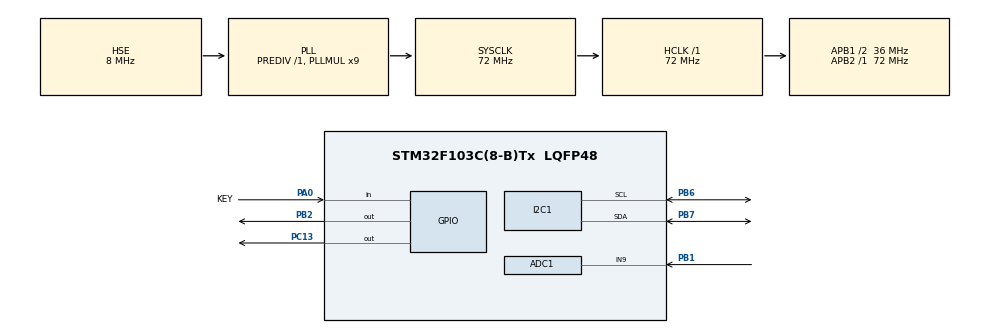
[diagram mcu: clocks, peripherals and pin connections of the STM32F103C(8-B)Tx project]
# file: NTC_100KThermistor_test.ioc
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ADC1.Channel-0\#ChannelRegularConversion=ADC_CHANNEL_9
ADC1.ContinuousConvMode=DISABLE
ADC1.NbrOfConversion=1
ADC1.NbrOfConversionFlag=1
ADC1.Rank-0\#ChannelRegularConversion=1
ADC1.SamplingTime-0\#ChannelRegularConversion=ADC_SAMPLETIME_28CYCLES_5
ADC1.master=1
Dma.ADC1.0.Direction=DMA_PERIPH_TO_MEMORY
Dma.ADC1.0.Instance=DMA1_Channel1
Dma.ADC1.0.MemDataAlignment=DMA_MDATAALIGN_WORD
Dma.ADC1.0.MemInc=DMA_MINC_ENABLE
Dma.ADC1.0.Mode=DMA_CIRCULAR
Dma.ADC1.0.PeriphDataAlignment=DMA_PDATAALIGN_WORD
Dma.ADC1.0.PeriphInc=DMA_PINC_DISABLE
Dma.ADC1.0.Priority=DMA_PRIORITY_LOW
Dma.Request0=ADC1
I2C1.I2C_Mode=I2C_Fast
Mcu.Family=STM32F1
Mcu.Name=STM32F103C(8-B)Tx
Mcu.Package=LQFP48
NVIC.DMA1_Channel1_IRQn=true\:0\:0\:false\:false\:true\:false\:true\:true
NVIC.PriorityGroup=NVIC_PRIORITYGROUP_4
PA0-WKUP.GPIO_Label=KEY
PA0-WKUP.GPIO_PuPd=GPIO_PULLDOWN
PA0-WKUP.Signal=GPIO_Input
PA13.Mode=Serial_Wire
PA13.Signal=SYS_JTMS-SWDIO
PA14.Mode=Serial_Wire
PA14.Signal=SYS_JTCK-SWCLK
PB1.Signal=ADCx_IN9
PB2.Signal=GPIO_Output
PB6.Mode=I2C
PB6.Signal=I2C1_SCL
PB7.Mode=I2C
PB7.Signal=I2C1_SDA
PC13-TAMPER-RTC.Signal=GPIO_Output
PD0-OSC_IN.Mode=HSE-External-Oscillator
PD0-OSC_IN.Signal=RCC_OSC_IN
PD1-OSC_OUT.Mode=HSE-External-Oscillator
PD1-OSC_OUT.Signal=RCC_OSC_OUT
ProjectManager.HeapSize=0x200
ProjectManager.StackSize=0x400
ProjectManager.TargetToolchain=STM32CubeIDE
RCC.ADCPresc=RCC_ADCPCLK2_DIV6
RCC.AHBFreq_Value=72000000
RCC.APB1CLKDivider=RCC_HCLK_DIV2
RCC.APB1Freq_Value=36000000
RCC.APB1TimFreq_Value=72000000
RCC.APB2Freq_Value=72000000
RCC.APB2TimFreq_Value=72000000
RCC.HCLKFreq_Value=72000000
RCC.PLLMUL=RCC_PLL_MUL9
RCC.PLLSourceVirtual=RCC_PLLSOURCE_HSE
RCC.SYSCLKFreq_VALUE=72000000
RCC.SYSCLKSource=RCC_SYSCLKSOURCE_PLLCLK
RCC.USBFreq_Value=72000000
SH.ADCx_IN9.0=ADC1_IN9,IN9
VP_TIM4_VS_ClockSourceINT.Mode=Internal
board=custom

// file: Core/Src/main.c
/* USER CODE BEGIN Header */
/**
  ******************************************************************************
  * @file           : main.c
  * @brief          : Main program body
  ******************************************************************************
  * @attention
  *
  * Copyright (c) 2024 STMicroelectronics.
  * All rights reserved.
  *
  * This software is licensed under terms that can be found in the LICENSE file
  * in the root directory of this software component.
  * If no LICENSE file comes with this software, it is provided AS-IS.
  *
  ******************************************************************************
  */
/* USER CODE END Header */
#include "main.h"

/* USER CODE BEGIN Includes */
#include <math.h>

#include "ssd1306.h"
#include "fonts.h"
//#include "test.h"

/* USER CODE END Includes */

/* USER CODE BEGIN PTD */
#define SCREEN_HEIGHT 64
#define SCREEN_WIDTH 128
/* USER CODE END PTD */

ADC_HandleTypeDef hadc1;
DMA_HandleTypeDef hdma_adc1;

I2C_HandleTypeDef hi2c1;

TIM_HandleTypeDef htim4;

/* USER CODE BEGIN PV */

/* adc vars */
uint32_t ADC_Raw[1];

float Ntc_Tmp;
float Ntc_Tmp_Raw;
uint32_t Ntc_R;

/* R1 resistance */
#define NTC_UP_R 100000.0f

#define FILTER_SMA_ORDER 15

/* constants of Steinhart-Hart equation */
#define A 0.0018937f
#define B -0.00003306639f
#define C 0.0000012931f

/* sheduler vars */
uint8_t Sch_100ms = 255;

uint8_t test_buffer[20];

uint16_t Filter_Buffer[FILTER_SMA_ORDER] = {0,};

uint16_t LoRa_stat = 0;

uint8_t TxBuffer[128];
uint8_t RxBuffer[128];

uint8_t lora_receive_toggle = 0;

/* USER CODE END PV */

void SystemClock_Config(void);
static void MX_GPIO_Init(void);
static void MX_DMA_Init(void);
static void MX_ADC1_Init(void);
static void MX_I2C1_Init(void);
static void MX_TIM4_Init(void);

/* USER CODE BEGIN 0 */

void HAL_TIM_PeriodElapsedCallback(TIM_HandleTypeDef *htim)
{
 if(htim->Instance == TIM4)
	{
		/* set every 100ms */
		Sch_100ms = 255;
	}
}

uint32_t Filter_SMA(uint32_t For_Filtered)
{
	/* Load new value */
	Filter_Buffer[FILTER_SMA_ORDER - 1] = For_Filtered;
	/* For output value */
	uint32_t Output = 0;
	/* Sum */
	for(uint8_t i = 0; i < FILTER_SMA_ORDER; i++)
	{
		Output += Filter_Buffer[i];
	}
	/* Divide */
	Output /= FILTER_SMA_ORDER;
	/* Left Shift */
	for(uint8_t i = 0; i < FILTER_SMA_ORDER; i++)
				Filter_Buffer[i] = Filter_Buffer[i+1];
	/* Return filtered value */
	return (uint32_t) Output;
}

/* USER CODE END 0 */

int main(void)
{

  /* MCU Configuration--------------------------------------------------------*/

  /* Reset of all peripherals, Initializes the Flash interface and the Systick. */
  HAL_Init();

  /* Configure the system clock */
  SystemClock_Config();

  /* Initialize all configured peripherals */
  MX_GPIO_Init();
  MX_DMA_Init();
  MX_ADC1_Init();
  MX_I2C1_Init();
  MX_TIM4_Init();
  /* USER CODE BEGIN 2 */

  //SSD1306_Init ();

  /* adc calibration */
  HAL_ADCEx_Calibration_Start(&hadc1);

  /* adc dma start */
  HAL_ADC_Start_DMA(&hadc1, ADC_Raw, 1);

  /* timer 4 (f=10Hz, T=100ms start */
  HAL_TIM_Base_Start_IT(&htim4);

  /* USER CODE END 2 */

  /* Infinite loop */
  /* USER CODE BEGIN WHILE */
  while (1)
  {

	if(Sch_100ms){
		/* get adc value */
		HAL_ADC_Start_IT(&hadc1);

		uint16_t Ntc_Temp_ADC = Filter_SMA(ADC_Raw[0]);
		/* calc. ntc resistance */
		Ntc_R = ((NTC_UP_R)/((4095.0/Ntc_Temp_ADC) - 1));

		/* temp */
		float Ntc_Ln = log(Ntc_R);
		/* calc. temperature */
		Ntc_Tmp = (1.0/(A + B*Ntc_Ln + C*Ntc_Ln*Ntc_Ln*Ntc_Ln)) - 273.15;

		/* nullify */
		Sch_100ms = 0;
	}

	 SSD1306_GotoXY(4, 10);
	 sprintf(test_buffer, "T: %.1fC ", Ntc_Tmp);
	 SSD1306_Puts(test_buffer, &Font_11x18, 1);

	 SSD1306_GotoXY(4, 30);
	 sprintf(test_buffer, "R: %d ", Ntc_R);
	 SSD1306_Puts(test_buffer, &Font_11x18, 1);

	 SSD1306_UpdateScreen();

    /* USER CODE END WHILE */

  }
}

void SystemClock_Config(void)
{
  RCC_OscInitTypeDef RCC_OscInitStruct = {0};
  RCC_ClkInitTypeDef RCC_ClkInitStruct = {0};
  RCC_PeriphCLKInitTypeDef PeriphClkInit = {0};

  /** Initializes the RCC Oscillators according to the specified parameters
  * in the RCC_OscInitTypeDef structure.
  */
  RCC_OscInitStruct.OscillatorType = RCC_OSCILLATORTYPE_HSE;
  RCC_OscInitStruct.HSEState = RCC_HSE_ON;
  RCC_OscInitStruct.HSEPredivValue = RCC_HSE_PREDIV_DIV1;
  RCC_OscInitStruct.HSIState = RCC_HSI_ON;
  RCC_OscInitStruct.PLL.PLLState = RCC_PLL_ON;
  RCC_OscInitStruct.PLL.PLLSource = RCC_PLLSOURCE_HSE;
  RCC_OscInitStruct.PLL.PLLMUL = RCC_PLL_MUL9;
  if (HAL_RCC_OscConfig(&RCC_OscInitStruct) != HAL_OK)
  {
    Error_Handler();
  }

  /** Initializes the CPU, AHB and APB buses clocks
  */
  RCC_ClkInitStruct.ClockType = RCC_CLOCKTYPE_HCLK|RCC_CLOCKTYPE_SYSCLK
                              |RCC_CLOCKTYPE_PCLK1|RCC_CLOCKTYPE_PCLK2;
  RCC_ClkInitStruct.SYSCLKSource = RCC_SYSCLKSOURCE_PLLCLK;
  RCC_ClkInitStruct.AHBCLKDivider = RCC_SYSCLK_DIV1;
  RCC_ClkInitStruct.APB1CLKDivider = RCC_HCLK_DIV2;
  RCC_ClkInitStruct.APB2CLKDivider = RCC_HCLK_DIV1;

  if (HAL_RCC_ClockConfig(&RCC_ClkInitStruct, FLASH_LATENCY_2) != HAL_OK)
  {
    Error_Handler();
  }
  PeriphClkInit.PeriphClockSelection = RCC_PERIPHCLK_ADC;
  PeriphClkInit.AdcClockSelection = RCC_ADCPCLK2_DIV6;
  if (HAL_RCCEx_PeriphCLKConfig(&PeriphClkInit) != HAL_OK)
  {
    Error_Handler();
  }
}

static void MX_ADC1_Init(void)
{

  ADC_ChannelConfTypeDef sConfig = {0};

  /** Common config
  */
  hadc1.Instance = ADC1;
  hadc1.Init.ScanConvMode = ADC_SCAN_DISABLE;
  hadc1.Init.ContinuousConvMode = DISABLE;
  hadc1.Init.DiscontinuousConvMode = DISABLE;
  hadc1.Init.ExternalTrigConv = ADC_SOFTWARE_START;
  hadc1.Init.DataAlign = ADC_DATAALIGN_RIGHT;
  hadc1.Init.NbrOfConversion = 1;
  if (HAL_ADC_Init(&hadc1) != HAL_OK)
  {
    Error_Handler();
  }

  /** Configure Regular Channel
  */
  sConfig.Channel = ADC_CHANNEL_9;
  sConfig.Rank = ADC_REGULAR_RANK_1;
  sConfig.SamplingTime = ADC_SAMPLETIME_28CYCLES_5;
  if (HAL_ADC_ConfigChannel(&hadc1, &sConfig) != HAL_OK)
  {
    Error_Handler();
  }

}

static void MX_I2C1_Init(void)
{

  hi2c1.Instance = I2C1;
  hi2c1.Init.ClockSpeed = 400000;
  hi2c1.Init.DutyCycle = I2C_DUTYCYCLE_2;
  hi2c1.Init.OwnAddress1 = 0;
  hi2c1.Init.AddressingMode = I2C_ADDRESSINGMODE_7BIT;
  hi2c1.Init.DualAddressMode = I2C_DUALADDRESS_DISABLE;
  hi2c1.Init.OwnAddress2 = 0;
  hi2c1.Init.GeneralCallMode = I2C_GENERALCALL_DISABLE;
  hi2c1.Init.NoStretchMode = I2C_NOSTRETCH_DISABLE;
  if (HAL_I2C_Init(&hi2c1) != HAL_OK)
  {
    Error_Handler();
  }

}

static void MX_TIM4_Init(void)
{

  TIM_ClockConfigTypeDef sClockSourceConfig = {0};
  TIM_MasterConfigTypeDef sMasterConfig = {0};

  htim4.Instance = TIM4;
  htim4.Init.Prescaler = 0;
  htim4.Init.CounterMode = TIM_COUNTERMODE_UP;
  htim4.Init.Period = 65535;
  htim4.Init.ClockDivision = TIM_CLOCKDIVISION_DIV1;
  htim4.Init.AutoReloadPreload = TIM_AUTORELOAD_PRELOAD_DISABLE;
  if (HAL_TIM_Base_Init(&htim4) != HAL_OK)
  {
    Error_Handler();
  }
  sClockSourceConfig.ClockSource = TIM_CLOCKSOURCE_INTERNAL;
  if (HAL_TIM_ConfigClockSource(&htim4, &sClockSourceConfig) != HAL_OK)
  {
    Error_Handler();
  }
  sMasterConfig.MasterOutputTrigger = TIM_TRGO_RESET;
  sMasterConfig.MasterSlaveMode = TIM_MASTERSLAVEMODE_DISABLE;
  if (HAL_TIMEx_MasterConfigSynchronization(&htim4, &sMasterConfig) != HAL_OK)
  {
    Error_Handler();
  }

}

static void MX_DMA_Init(void)
{

  /* DMA controller clock enable */
  __HAL_RCC_DMA1_CLK_ENABLE();

  /* DMA interrupt init */
  /* DMA1_Channel1_IRQn interrupt configuration */
  HAL_NVIC_SetPriority(DMA1_Channel1_IRQn, 0, 0);
  HAL_NVIC_EnableIRQ(DMA1_Channel1_IRQn);

}

static void MX_GPIO_Init(void)
{
  GPIO_InitTypeDef GPIO_InitStruct = {0};

  /* GPIO Ports Clock Enable */
  __HAL_RCC_GPIOC_CLK_ENABLE();
  __HAL_RCC_GPIOD_CLK_ENABLE();
  __HAL_RCC_GPIOA_CLK_ENABLE();
  __HAL_RCC_GPIOB_CLK_ENABLE();

  /*Configure GPIO pin Output Level */
  HAL_GPIO_WritePin(GPIOC, GPIO_PIN_13, GPIO_PIN_RESET);

  /*Configure GPIO pin Output Level */
  HAL_GPIO_WritePin(GPIOB, GPIO_PIN_2, GPIO_PIN_RESET);

  /*Configure GPIO pin : PC13 */
  GPIO_InitStruct.Pin = GPIO_PIN_13;
  GPIO_InitStruct.Mode = GPIO_MODE_OUTPUT_PP;
  GPIO_InitStruct.Pull = GPIO_NOPULL;
  GPIO_InitStruct.Speed = GPIO_SPEED_FREQ_LOW;
  HAL_GPIO_Init(GPIOC, &GPIO_InitStruct);

  /*Configure GPIO pin : KEY_Pin */
  GPIO_InitStruct.Pin = KEY_Pin;
  GPIO_InitStruct.Mode = GPIO_MODE_INPUT;
  GPIO_InitStruct.Pull = GPIO_PULLDOWN;
  HAL_GPIO_Init(KEY_GPIO_Port, &GPIO_InitStruct);

  /*Configure GPIO pin : PB2 */
  GPIO_InitStruct.Pin = GPIO_PIN_2;
  GPIO_InitStruct.Mode = GPIO_MODE_OUTPUT_PP;
  GPIO_InitStruct.Pull = GPIO_NOPULL;
  GPIO_InitStruct.Speed = GPIO_SPEED_FREQ_LOW;
  HAL_GPIO_Init(GPIOB, &GPIO_InitStruct);

}

void Error_Handler(void)
{
  __disable_irq();
  while (1)
  {
  }
}
